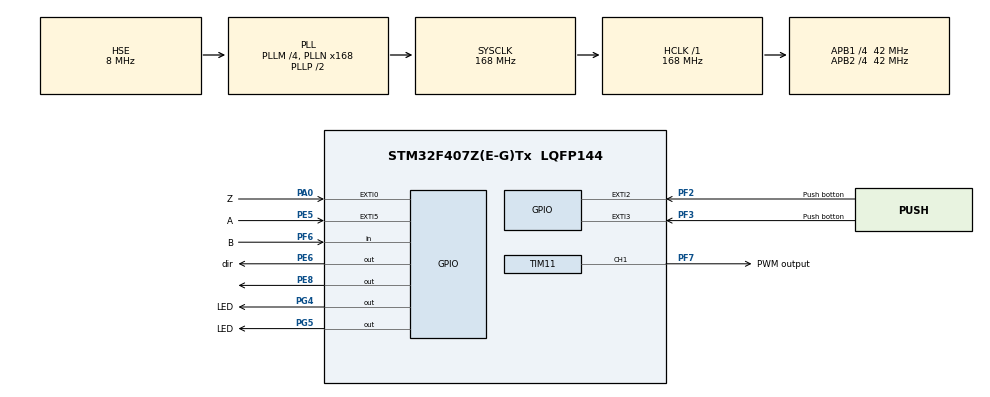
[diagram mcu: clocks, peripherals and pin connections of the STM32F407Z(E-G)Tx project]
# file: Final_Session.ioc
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Mcu.Family=STM32F4
Mcu.Name=STM32F407Z(E-G)Tx
Mcu.Package=LQFP144
NVIC.EXTI0_IRQn=true\:0\:0\:false\:false\:true\:true\:true\:true
NVIC.EXTI2_IRQn=true\:0\:0\:false\:false\:true\:true\:true\:true
NVIC.EXTI3_IRQn=true\:0\:0\:false\:false\:true\:true\:true\:true
NVIC.EXTI9_5_IRQn=true\:0\:0\:false\:false\:true\:true\:true\:true
NVIC.PriorityGroup=NVIC_PRIORITYGROUP_4
NVIC.TIM6_DAC_IRQn=true\:0\:0\:false\:false\:true\:true\:true\:true
NVIC.TIM7_IRQn=true\:0\:0\:false\:false\:true\:true\:true\:true
PA0-WKUP.GPIO_Label=Z
PA0-WKUP.Signal=GPXTI0
PE5.GPIO_Label=A
PE5.Signal=GPXTI5
PE6.GPIO_Label=dir
PE6.Signal=GPIO_Output
PE8.Signal=GPIO_Output
PF2.GPIO_Label=Push botton
PF2.GPIO_ModeDefaultEXTI=GPIO_MODE_IT_RISING
PF2.Signal=GPXTI2
PF3.GPIO_Label=Push botton
PF3.Signal=GPXTI3
PF6.GPIO_Label=B
PF6.Signal=GPIO_Input
PF7.GPIO_Label=PWM output
PF7.Signal=S_TIM11_CH1
PG4.GPIO_Label=LED
PG4.Signal=GPIO_Output
PG5.GPIO_Label=LED
PG5.Signal=GPIO_Output
PH0-OSC_IN.Mode=HSE-External-Oscillator
PH0-OSC_IN.Signal=RCC_OSC_IN
PH1-OSC_OUT.Mode=HSE-External-Oscillator
PH1-OSC_OUT.Signal=RCC_OSC_OUT
ProjectManager.HeapSize=0x200
ProjectManager.StackSize=0x400
ProjectManager.TargetToolchain=STM32CubeIDE
RCC.48MHZClocksFreq_Value=84000000
RCC.AHBFreq_Value=168000000
RCC.APB1CLKDivider=RCC_HCLK_DIV4
RCC.APB1Freq_Value=42000000
RCC.APB1TimFreq_Value=84000000
RCC.APB2CLKDivider=RCC_HCLK_DIV4
RCC.APB2Freq_Value=42000000
RCC.APB2TimFreq_Value=84000000
RCC.CortexFreq_Value=168000000
RCC.HCLKFreq_Value=168000000
RCC.HSE_VALUE=8000000
RCC.HSI_VALUE=16000000
RCC.LSE_VALUE=32768
RCC.PLLM=4
RCC.PLLN=168
RCC.PLLSourceVirtual=RCC_PLLSOURCE_HSE
RCC.SYSCLKFreq_VALUE=168000000
RCC.SYSCLKSource=RCC_SYSCLKSOURCE_PLLCLK
RCC.VCOOutputFreq_Value=336000000
SH.S_TIM11_CH1.0=TIM11_CH1,PWM Generation1 CH1
TIM11.Channel=TIM_CHANNEL_1
TIM11.Period=999
TIM11.Prescaler=5
TIM6.AutoReloadPreload=TIM_AUTORELOAD_PRELOAD_ENABLE
TIM6.Period=999
TIM6.Prescaler=83
TIM6.TIM_MasterOutputTrigger=TIM_TRGO_UPDATE
TIM7.Period=999
TIM7.Prescaler=839
TIM7.TIM_MasterOutputTrigger=TIM_TRGO_UPDATE
VP_TIM11_VS_ClockSourceINT.Mode=Enable_Timer
VP_TIM6_VS_ClockSourceINT.Mode=Enable_Timer
VP_TIM7_VS_ClockSourceINT.Mode=Enable_Timer
board=custom

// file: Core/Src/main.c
/* USER CODE BEGIN Header */
/**
  ******************************************************************************
  * @file           : main.c
  * @brief          : Main program body
  ******************************************************************************
  * @attention
  *
  * Copyright (c) 2024 STMicroelectronics.
  * All rights reserved.
  *
  * This software is licensed under terms that can be found in the LICENSE file
  * in the root directory of this software component.
  * If no LICENSE file comes with this software, it is provided AS-IS.
  *
  ******************************************************************************
  */
/* USER CODE END Header */
#include "main.h"
#include "tim.h"
#include "gpio.h"

/* USER CODE BEGIN Includes */
/*
 TIM11 -> PSC = 2 (42 / 3 = 14M), ARR = 999 (14 M/K = 14K)
 CCR = 9990 to have 0.1% D.C
 */
/* USER CODE END Includes */

/* USER CODE BEGIN PD */
#define A0 800
#define A1 1400
#define A2 2000
#define MAX_U 12.0f
#define MAX_DUTY 1000
#define F_APB 84000000
#define Kp 0.01
#define KI 0.08
#define Ts 0.01
/* USER CODE END PD */

void SystemClock_Config(void);

/* USER CODE BEGIN 0 */
uint32_t counter = 0, tau_counter = 0;
int16_t pos_counter = 0;
uint32_t direction = 0;
uint32_t deadBand_CRR = 0, CCR1 = 0, CCR2 = 0;
int32_t velocity = 0;
uint32_t v1 = 0, v2 = 0, prev_v, curr_v = 0;
uint32_t K_num = 0, tau = 0;
uint32_t t1 = 0, t2 = 0, th = 0; //Computing tau
int16_t angle = 0; //Angle
float distance = 0.0f;
uint32_t target_velocities[5] = {A0, A1, A2, A1, A0};
uint32_t target_v_counter = 0, tagert_index_counter = 0;
uint16_t set_point = A0;
uint16_t set_position = 270;
float u = 0.0f, prev_u1 = 0.0f, prev_u2 = 0.0f;
float velocity_error = 0.0f, prev_v_error = 0.0f;
float position_error = 0.0f, prev_pos_error1 = 0.0f, prev_pos_error2 = 0.0f;
const uint16_t PPR = 1024;
const float a = 0.5067f, b = -0.4677f, c = 0.7713f, d = 0.3805f;
float K = 0.05f;
// TIM11 for PWM & TIM6 for A (Encoder)
// ARR_11 = 999, CCR_11 = 0
// ARR_6 = 9999 CCR_6 = 15
// 2 GPIO inputs for A & B (A is EXTI)
// 1 GPIO EXTI for pushBotton
typedef enum
{
	IDLE = 0, WAIT_Z = 1, COMPUTE_ANGLE = 2, CONTROL_VELOCITY = 3, WAIT = 4, CONTROL_ANGLE = 5
} lock_states_t;

lock_states_t state = IDLE;
// DEAD_BAND = 1, WAIT_0 = 2, K = 3, WAIT_1 = 4, Compute_K = 5, WAIT_TAU = 6, Compute_tau = 7,
typedef enum
{
	OK = 0, NOT_READY = 1
} result_t;
//functions:
result_t Compute_deadband(void);
void Compute_v1(void);
void add_CRR(void);
void calc_K(void);
void config_timer(void);
result_t compute_tau(void);
float get_velocity(void);
float get_angle(void);
uint8_t getDir(void);
//Control functions
void setDir(uint8_t dir);
void setDuty(uint16_t duty);
void turnLED(uint8_t led, uint8_t status);
void setTs(uint8_t Tss);
void Vout2PWM(float u);
void control_velocity();
void control_position();
/* USER CODE END 0 */

int main(void)
{

  /* MCU Configuration--------------------------------------------------------*/

  /* Reset of all peripherals, Initializes the Flash interface and the Systick. */
  HAL_Init();

  /* Configure the system clock */
  SystemClock_Config();

  /* Initialize all configured peripherals */
  MX_GPIO_Init();
  MX_TIM6_Init();
  MX_TIM11_Init();
  MX_TIM7_Init();
  /* USER CODE BEGIN 2 */
  HAL_TIM_Base_Start_IT(&htim6);
//  setDuty(50);
  /* USER CODE END 2 */

  /* Infinite loop */
  /* USER CODE BEGIN WHILE */
//  setTs(Ts * 1000);
  while (1)
  {
	  //*Board Test*//
//	  HAL_GPIO_TogglePin(GPIOG, GPIO_PIN_4);
//	  HAL_GPIO_TogglePin(GPIOG, GPIO_PIN_5);
//	  HAL_Delay(1000);
    /* USER CODE END WHILE */

    /* USER CODE BEGIN 3 */
	  switch(state)
	  {
	  case IDLE:
		  TIM11->CCR1 = 300;
		  HAL_Delay(2000);
		  HAL_TIM_PWM_Start(&htim11, TIM_CHANNEL_1);
		  state = WAIT_Z;
		  break;
	  case WAIT_Z:
		  break;
	  case COMPUTE_ANGLE:
		  break;
	  case CONTROL_VELOCITY:
		  state = CONTROL_VELOCITY;
		  break;
	  case WAIT:
		  TIM11->CCR1 = 0;
		  HAL_Delay(2000);
		  state = CONTROL_ANGLE;
		  break;
	  case CONTROL_ANGLE:
		  state = CONTROL_ANGLE;
		  break;
	  }
  }
  /* USER CODE END 3 */
}

void SystemClock_Config(void)
{
  RCC_OscInitTypeDef RCC_OscInitStruct = {0};
  RCC_ClkInitTypeDef RCC_ClkInitStruct = {0};

  /** Configure the main internal regulator output voltage
  */
  __HAL_RCC_PWR_CLK_ENABLE();
  __HAL_PWR_VOLTAGESCALING_CONFIG(PWR_REGULATOR_VOLTAGE_SCALE1);

  /** Initializes the RCC Oscillators according to the specified parameters
  * in the RCC_OscInitTypeDef structure.
  */
  RCC_OscInitStruct.OscillatorType = RCC_OSCILLATORTYPE_HSE;
  RCC_OscInitStruct.HSEState = RCC_HSE_ON;
  RCC_OscInitStruct.PLL.PLLState = RCC_PLL_ON;
  RCC_OscInitStruct.PLL.PLLSource = RCC_PLLSOURCE_HSE;
  RCC_OscInitStruct.PLL.PLLM = 4;
  RCC_OscInitStruct.PLL.PLLN = 168;
  RCC_OscInitStruct.PLL.PLLP = RCC_PLLP_DIV2;
  RCC_OscInitStruct.PLL.PLLQ = 4;
  if (HAL_RCC_OscConfig(&RCC_OscInitStruct) != HAL_OK)
  {
    Error_Handler();
  }

  /** Initializes the CPU, AHB and APB buses clocks
  */
  RCC_ClkInitStruct.ClockType = RCC_CLOCKTYPE_HCLK|RCC_CLOCKTYPE_SYSCLK
                              |RCC_CLOCKTYPE_PCLK1|RCC_CLOCKTYPE_PCLK2;
  RCC_ClkInitStruct.SYSCLKSource = RCC_SYSCLKSOURCE_PLLCLK;
  RCC_ClkInitStruct.AHBCLKDivider = RCC_SYSCLK_DIV1;
  RCC_ClkInitStruct.APB1CLKDivider = RCC_HCLK_DIV4;
  RCC_ClkInitStruct.APB2CLKDivider = RCC_HCLK_DIV4;

  if (HAL_RCC_ClockConfig(&RCC_ClkInitStruct, FLASH_LATENCY_5) != HAL_OK)
  {
    Error_Handler();
  }
}

/* USER CODE BEGIN 4 */
void HAL_GPIO_EXTI_Callback(uint16_t GPIO_Pin)
{
	// Encoder: A: PE5, B: PF6, Z: PA0
	if(GPIO_Pin == GPIO_PIN_5)
	{
		counter++;
//		pos_counter++;
		direction = getDir();
		if(direction == 0)
		{
			pos_counter++;
			if(pos_counter > 1024)
				pos_counter = 0;
		}
		else
		{
			pos_counter--;
			if(pos_counter < 0)
				pos_counter = 1024;
		}
		angle = get_angle();
	}
	if(GPIO_Pin == GPIO_PIN_0)
	{
		if(state == WAIT_Z)
		{
			pos_counter = 0;
			state = COMPUTE_ANGLE;
		}
	}
	if(GPIO_Pin == GPIO_PIN_2)
	{
		if(state == COMPUTE_ANGLE)
		{
			state = CONTROL_VELOCITY;
			HAL_TIM_Base_Start_IT(&htim7);
		}
	}
	if(GPIO_Pin == GPIO_PIN_3)
	{
		if(state == CONTROL_VELOCITY)
		{
			state = WAIT;
//			HAL_TIM_Base_Start_IT(&htim7);
		}
	}
}
void HAL_TIM_PeriodElapsedCallback(TIM_HandleTypeDef *htim)
{
	if(htim->Instance == TIM6)
	{
		target_v_counter++;
		if(target_v_counter > 1000)
		{
			target_v_counter = 0;
			tagert_index_counter++;
			if(tagert_index_counter >= 5)
			{
				tagert_index_counter = 0;
			}
			set_point = target_velocities[tagert_index_counter];
		}
		velocity = get_velocity();
		counter = 0;
	}
	else if(htim->Instance == TIM7)
	{
		if(state == CONTROL_VELOCITY)
		{
			velocity_error = set_point - velocity;

			control_velocity();

			prev_v_error = velocity_error;

//			prev_u2 = prev_u1;
			prev_u1 = u;

			Vout2PWM(u);
		}
		else if(state == CONTROL_ANGLE)
		{
			position_error = set_position - angle;
			if(position_error > 0.001 || position_error < -0.001)
				control_position();

			prev_pos_error1 = position_error;

			prev_u1 = u;

			Vout2PWM(u);
		}
//		if(state == DEAD_BAND)
//			TIM11->CCR1 += 100;
//		else if(state == WAIT_1)
//		{
//			prev_v = curr_v;
//			curr_v = velocity;
//			if(curr_v - prev_v < 30)
//			{
//				v2 = curr_v;
//				state = Compute_K;
//			}
//		}
	}
}

result_t Compute_deadband(void)
{
	if(velocity > 0)
	{
		deadBand_CRR = TIM11->CCR1; //300
		TIM11->CCR1 = 0;
		return OK;
	}
	else
	{
		return NOT_READY;
	}
}

void Compute_v1(void)
{
	TIM11->CCR1 = deadBand_CRR + 100;
	CCR1 = TIM11->CCR1;
	HAL_Delay(1000);
	v1 = velocity;
	TIM11->CCR1 = CCR1 * 2; //Like Step function
	CCR2 = TIM11->CCR1;
}

void calc_K()
{
	K_num = ((v2 - v1)*TIM11->ARR)/((CCR2 - CCR1) * 12);
	// K_num is 326
}

void config_timer()
{
	TIM11->CCR1 = CCR1;
	HAL_Delay(2000);
	TIM11->CCR1 = CCR1 * 2; //Like Step function
	CCR2 = TIM11->CCR1;
	t1 = 0;
}

result_t compute_tau(void)
{
	th = v1 + (63*(v2 - v1)/100);
	if(velocity >= th)
	{
		t2 = tau_counter;
		tau = t2 - t1;
		return OK;
	}
	else
	{
		return NOT_READY;
	}
}

float get_velocity(void)
{
	uint32_t round = 0;
	float v = 0.0;
	round = counter * 60 * 1000;
	v = round / 1024;
//	counter = 0;
	return v;
}

float get_angle(void)
{
	distance = ((pos_counter % 1024) * 360) / 1024;
	return distance;
}

uint8_t getDir(void)
{
	return HAL_GPIO_ReadPin(GPIOF, GPIO_PIN_6);
}

void setDir(uint8_t dir)
{
	// write to PE6
	// dir = 0 CW dir = 1 CCW
	HAL_GPIO_WritePin(GPIOE, GPIO_PIN_6, dir);
}

void setDuty(uint16_t duty)
{
	// DC%
	TIM11->CCR1 = (duty * TIM11->ARR)/MAX_DUTY;
}

void turnLED(uint8_t led , uint8_t status)
{
	if(led == 0)
		HAL_GPIO_WritePin(GPIOG, GPIO_PIN_4, status);
	else
		HAL_GPIO_WritePin(GPIOG, GPIO_PIN_5, status);
}

void setTs(uint8_t Tss)
{
	float fs = 1/Tss;
	TIM7->ARR = (F_APB / ((TIM7->PSC + 1) * fs)) - 1;
}

void Vout2PWM(float u)
{
	float duty = 0.0f;
	uint8_t dir;
	if(u >= 0.0f)
	{
		duty = u / MAX_U;
		dir = 1;
	}
	else
	{
		duty = (-u) / MAX_U;
		dir = 0;
	}
	TIM11->CCR1 = (uint32_t) (duty * TIM11->ARR);
	setDir(dir);
//	uint8_t dir;
//	float v = u;
//	if(u < 0)
//	{
//		dir = 1;
//		v = -u;
//	}
//	else
//	{
//		v = u;
//		dir = 0;
//	}
//	setDir(dir);
//	v = (v * MAX_DUTY) / MAX_U;
//	TIM11->CCR1 = v;
//	setDuty(v);
}

void control_velocity()
{
	u = prev_u1 + velocity_error * (Kp + KI * Ts) - prev_v_error * Kp;
	if(u > MAX_U)
		u = MAX_U;
	else if(u < -MAX_U)
		u = -MAX_U;
//	prev_u1 = u;
}

void control_position()
{
	u = (b * prev_pos_error1 + a * position_error - d * prev_u1) / c;
//	u = K * position_error;
//	if(u < 3.6 && u > 0.1)
//		u = 3.6;
//	if(u > -3.6 && u < -0.1)
//		u = -3.6;
//	if(u > MAX_U)
//		u = MAX_U;
//	else if(u < -MAX_U)
//		u = -MAX_U;
}
/* USER CODE END 4 */

/**
  * @brief  This function is executed in case of velocity_error occurrence.
  * @retval None
  */
void Error_Handler(void)
{
  __disable_irq();
  while (1)
  {
  }
}
